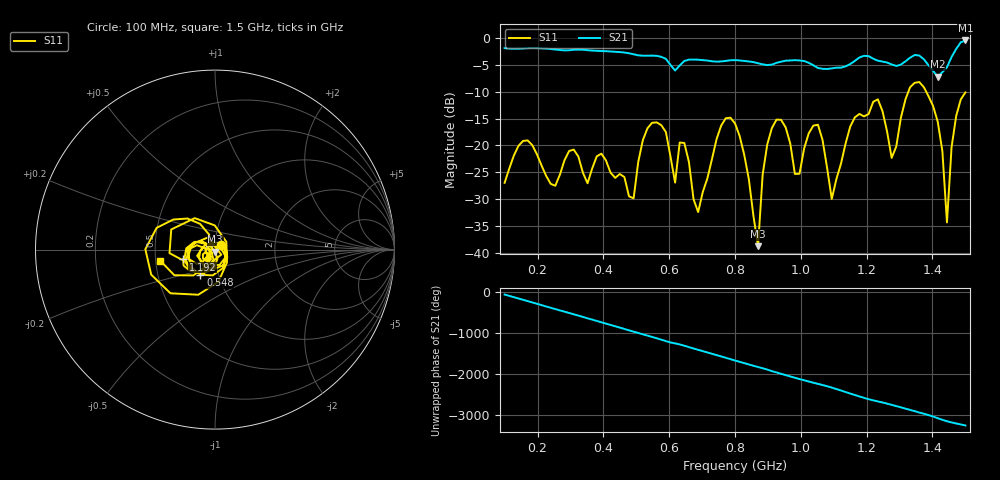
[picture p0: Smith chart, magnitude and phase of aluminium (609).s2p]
! NanoVNA-App
! Date: 2025-09-25 15:00:01
! Start: 100MHz Stop: 1,5GHz Points: 101
! S-Parameter data: F S11 S21 S12 S22
# Hz S RI R 50
!  Frequency  S11_Real  S11_Imag  S21_Real  S21_Imag  S12_Real  S12_Imag  S22_Real  S22_Imag
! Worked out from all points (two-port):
!   101 points, 100 MHz to 1.5 GHz, reference 50 ohm
!   highest |S21| = -0.49 dB at 1.5 GHz (marker M1); lowest = -7.2 dB at 1.416 GHz (marker M2)
!   |S21| within 3 dB of the highest: start of sweep to 572.2 MHz; 1.459 GHz to end of sweep (the widest 2 of 4)
!   lowest |S11| = -38.7 dB at 870 MHz (marker M3), VSWR 1.02, Z = 50.1 - j1.15 ohm
!   |S11| at or under -10 dB: start of sweep to 1.327 GHz; 1.381 GHz to end of sweep
!   S12 and S22 are empty: the file has one direction only
!   S11 on the Smith chart (normalised r, x): 100 MHz: 1.07, +0.06; 548 MHz: 0.82, -0.24; 1.192 GHz: 0.69, -0.08; 1.5 GHz: 0.53, -0.07
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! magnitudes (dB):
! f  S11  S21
! 100 MHz  -27.0  -1.9
! 156 MHz  -19.2  -2.0
! 338 MHz  -25.1  -2.2
! 492 MHz  -29.8  -3.1
! 548 MHz  -15.8  -3.3
! 576 MHz  -16.2  -3.5
! 646 MHz  -19.5  -4.3
! 688 MHz  -32.4  -4.1
! 800 MHz  -15.9  -4.1
! 870 MHz  -38.7  -4.7
! 912 MHz  -16.8  -5.0
! 996 MHz  -25.3  -4.2
! 1.038 GHz  -16.3  -5.1
! 1.094 GHz  -30.0  -5.7
! 1.192 GHz  -14.6  -3.3
! 1.234 GHz  -11.4  -4.3
! 1.276 GHz  -22.3  -4.9
! 1.346 GHz  -8.4  -3.2
! 1.416 GHz  -15.6  -7.2
! 1.444 GHz  -34.3  -5.5
! 1.458 GHz  -20.3  -3.6
! 1.5 GHz  -10.2  -0.5
